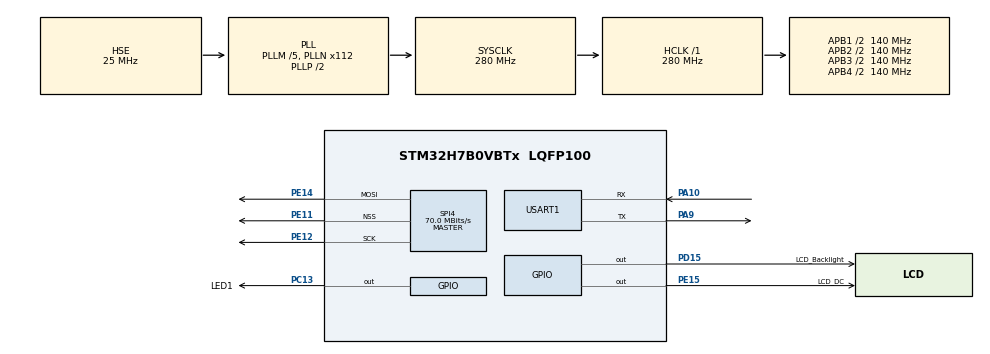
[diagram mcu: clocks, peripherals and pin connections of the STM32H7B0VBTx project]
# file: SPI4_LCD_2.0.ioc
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CORTEX_M7.CPU_DCache=Enabled
CORTEX_M7.CPU_ICache=Enabled
CORTEX_M7.MPU_Control=__NULL
CORTEX_M7.default_mode_Activation=1
Mcu.Family=STM32H7
Mcu.Name=STM32H7B0VBTx
Mcu.Package=LQFP100
NVIC.PriorityGroup=NVIC_PRIORITYGROUP_4
PA10.GPIO_Speed=GPIO_SPEED_FREQ_VERY_HIGH
PA10.Mode=Asynchronous
PA10.Signal=USART1_RX
PA13.Mode=Serial_Wire
PA13.Signal=DEBUG_JTMS-SWDIO
PA14.Mode=Serial_Wire
PA14.Signal=DEBUG_JTCK-SWCLK
PA9.GPIO_Speed=GPIO_SPEED_FREQ_VERY_HIGH
PA9.Mode=Asynchronous
PA9.Signal=USART1_TX
PC13.GPIO_Label=LED1
PC13.Signal=GPIO_Output
PC14-OSC32_IN.Mode=LSE-External-Oscillator
PC14-OSC32_IN.Signal=RCC_OSC32_IN
PC15-OSC32_OUT.Mode=LSE-External-Oscillator
PC15-OSC32_OUT.Signal=RCC_OSC32_OUT
PD15.GPIO_Label=LCD_Backlight
PD15.GPIO_PuPd=GPIO_PULLDOWN
PD15.Signal=GPIO_Output
PE11.GPIO_Speed=GPIO_SPEED_FREQ_VERY_HIGH
PE11.Mode=NSS_Signal_Hard_Output
PE11.Signal=SPI4_NSS
PE12.GPIO_Speed=GPIO_SPEED_FREQ_VERY_HIGH
PE12.Mode=TX_Only_Simplex_Unidirect_Master
PE12.Signal=SPI4_SCK
PE14.GPIO_Speed=GPIO_SPEED_FREQ_VERY_HIGH
PE14.Mode=TX_Only_Simplex_Unidirect_Master
PE14.Signal=SPI4_MOSI
PE15.GPIO_Label=LCD_DC
PE15.Signal=GPIO_Output
PH0-OSC_IN.Mode=HSE-External-Oscillator
PH0-OSC_IN.Signal=RCC_OSC_IN
PH1-OSC_OUT.Mode=HSE-External-Oscillator
PH1-OSC_OUT.Signal=RCC_OSC_OUT
ProjectManager.HeapSize=0x200
ProjectManager.StackSize=0x400
ProjectManager.TargetToolchain=STM32CubeIDE
RCC.ADCFreq_Value=50390625
RCC.APB1Freq_Value=140000000
RCC.APB2Freq_Value=140000000
RCC.APB3Freq_Value=140000000
RCC.APB4Freq_Value=140000000
RCC.CDPPRE=RCC_APB3_DIV2
RCC.CDPPRE1=RCC_APB1_DIV2
RCC.CDPPRE2=RCC_APB2_DIV2
RCC.CortexFreq_Value=280000000
RCC.DIVM1=5
RCC.DIVN1=112
RCC.HCLKFreq_Value=280000000
RCC.HSE_VALUE=25000000
RCC.PLLFRACN=0
RCC.PLLSourceVirtual=RCC_PLLSOURCE_HSE
RCC.SRDPPRE=RCC_APB4_DIV2
RCC.SYSCLKFreq_VALUE=280000000
RCC.SYSCLKSource=RCC_SYSCLKSOURCE_PLLCLK
RCC.USBFreq_Value=280000000
SPI4.CalculateBaudRate=70.0 MBits/s
SPI4.DataSize=SPI_DATASIZE_8BIT
SPI4.Direction=SPI_DIRECTION_2LINES_TXONLY
SPI4.Mode=SPI_MODE_MASTER
SPI4.VirtualNSS=VM_NSSHARD
SPI4.VirtualType=VM_MASTER
USART1.VirtualMode-Asynchronous=VM_ASYNC
VP_MEMORYMAP_VS_MEMORYMAP.Mode=CurAppReg
board=custom

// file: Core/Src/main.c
/* USER CODE BEGIN Header */
/**
  ******************************************************************************
  * @file           : main.c
  * @brief          : Main program body
  ******************************************************************************
  * @attention
  *
  * Copyright (c) 2024 STMicroelectronics.
  * All rights reserved.
  *
  * This software is licensed under terms that can be found in the LICENSE file
  * in the root directory of this software component.
  * If no LICENSE file comes with this software, it is provided AS-IS.
  *
  ******************************************************************************
  */
/* USER CODE END Header */
#include "main.h"
#include "memorymap.h"
#include "spi.h"
#include "usart.h"
#include "gpio.h"

/* USER CODE BEGIN Includes */
#include "retarget.h"
/* USER CODE END Includes */

/* USER CODE BEGIN PD */
#define LED1_ON        HAL_GPIO_WritePin(LED1_GPIO_Port, LED1_Pin, GPIO_PIN_RESET)        // 点亮LED1
#define LED1_OFF        HAL_GPIO_WritePin(LED1_GPIO_Port, LED1_Pin, GPIO_PIN_SET)        // 关闭LED1
/* USER CODE END PD */

void SystemClock_Config(void);

/* USER CODE BEGIN 0 */
// LCD测试函数，函数定义在底部
void LCD_Test_Clear(void);            // 清屏测试
void LCD_Test_Text(void);               // 文本测试
void LCD_Test_Variable(void);       // 变量显示，包括整数和小数
void LCD_Test_Color(void);            // 矩形填充测试
void LCD_Test_Grahic(void);           // 2D图形绘制
void LCD_Test_Image(void);            // 图片显示
void LCD_Test_Direction(void);       // 更换显示方向
/* USER CODE END 0 */

int main(void)
{

  /* MCU Configuration--------------------------------------------------------*/

  /* Reset of all peripherals, Initializes the Flash interface and the Systick. */
  HAL_Init();

  /* Configure the system clock */
  SystemClock_Config();

  /* Initialize all configured peripherals */
  MX_GPIO_Init();
  MX_SPI4_Init();
  MX_USART1_UART_Init();
  /* USER CODE BEGIN 2 */
	RetargetInit(&huart1);
	SPI_LCD_Init();            // SPI LCD屏幕初始�?
  /* USER CODE END 2 */

  /* Infinite loop */
  /* USER CODE BEGIN WHILE */
	while (1)
	{
//		HAL_GPIO_TogglePin(LED1_GPIO_Port,LED1_Pin);
//		HAL_Delay(300);
		LCD_Test_Clear();        // 清屏测试
		LCD_Test_Text();            // 文本测试
		LCD_Test_Variable();    // 变量显示，包括整数和小数
		LCD_Test_Color();            // 颜色测试
		LCD_Test_Grahic();        // 2D图形绘制
		LCD_Test_Image();            // 图片显示
		LCD_Test_Direction();    // 更换显示方向
    /* USER CODE END WHILE */

	}
}

void SystemClock_Config(void)
{
  RCC_OscInitTypeDef RCC_OscInitStruct = {0};
  RCC_ClkInitTypeDef RCC_ClkInitStruct = {0};

  /*AXI clock gating */
  RCC->CKGAENR = 0xFFFFFFFF;

  /** Supply configuration update enable
  */
  HAL_PWREx_ConfigSupply(PWR_LDO_SUPPLY);

  /** Configure the main internal regulator output voltage
  */
  __HAL_PWR_VOLTAGESCALING_CONFIG(PWR_REGULATOR_VOLTAGE_SCALE0);

  while(!__HAL_PWR_GET_FLAG(PWR_FLAG_VOSRDY)) {}

  /** Initializes the RCC Oscillators according to the specified parameters
  * in the RCC_OscInitTypeDef structure.
  */
  RCC_OscInitStruct.OscillatorType = RCC_OSCILLATORTYPE_HSE;
  RCC_OscInitStruct.HSEState = RCC_HSE_ON;
  RCC_OscInitStruct.PLL.PLLState = RCC_PLL_ON;
  RCC_OscInitStruct.PLL.PLLSource = RCC_PLLSOURCE_HSE;
  RCC_OscInitStruct.PLL.PLLM = 5;
  RCC_OscInitStruct.PLL.PLLN = 112;
  RCC_OscInitStruct.PLL.PLLP = 2;
  RCC_OscInitStruct.PLL.PLLQ = 2;
  RCC_OscInitStruct.PLL.PLLR = 2;
  RCC_OscInitStruct.PLL.PLLRGE = RCC_PLL1VCIRANGE_2;
  RCC_OscInitStruct.PLL.PLLVCOSEL = RCC_PLL1VCOWIDE;
  RCC_OscInitStruct.PLL.PLLFRACN = 0;
  if (HAL_RCC_OscConfig(&RCC_OscInitStruct) != HAL_OK)
  {
    Error_Handler();
  }

  /** Initializes the CPU, AHB and APB buses clocks
  */
  RCC_ClkInitStruct.ClockType = RCC_CLOCKTYPE_HCLK|RCC_CLOCKTYPE_SYSCLK
                              |RCC_CLOCKTYPE_PCLK1|RCC_CLOCKTYPE_PCLK2
                              |RCC_CLOCKTYPE_D3PCLK1|RCC_CLOCKTYPE_D1PCLK1;
  RCC_ClkInitStruct.SYSCLKSource = RCC_SYSCLKSOURCE_PLLCLK;
  RCC_ClkInitStruct.SYSCLKDivider = RCC_SYSCLK_DIV1;
  RCC_ClkInitStruct.AHBCLKDivider = RCC_HCLK_DIV1;
  RCC_ClkInitStruct.APB3CLKDivider = RCC_APB3_DIV2;
  RCC_ClkInitStruct.APB1CLKDivider = RCC_APB1_DIV2;
  RCC_ClkInitStruct.APB2CLKDivider = RCC_APB2_DIV2;
  RCC_ClkInitStruct.APB4CLKDivider = RCC_APB4_DIV2;

  if (HAL_RCC_ClockConfig(&RCC_ClkInitStruct, FLASH_LATENCY_6) != HAL_OK)
  {
    Error_Handler();
  }
}

/* USER CODE BEGIN 4 */
/*************************************************************************************************
*	�? �? �?:	LCD_Test_Clear
*
*	函数功能:	清屏测试
*************************************************************************************************/
void LCD_Test_Clear(void)
{
	uint8_t i = 0;            // 计数变量

	LCD_SetTextFont(&CH_Font24);            // 设置2424中文字体,ASCII字体对应�?2412
	LCD_SetColor(LCD_BLACK);                // 设置画笔颜色

	for (i = 0; i < 8; i++)
	{
		switch (i)        // 切换背景�?
		{
			case 0:
				LCD_SetBackColor(LIGHT_RED);
				break;
			case 1:
				LCD_SetBackColor(LIGHT_GREEN);
				break;
			case 2:
				LCD_SetBackColor(LIGHT_BLUE);
				break;
			case 3:
				LCD_SetBackColor(LIGHT_YELLOW);
				break;
			case 4:
				LCD_SetBackColor(LIGHT_CYAN);
				break;
			case 5:
				LCD_SetBackColor(LIGHT_GREY);
				break;
			case 6:
				LCD_SetBackColor(LIGHT_MAGENTA);
				break;
			case 7:
				LCD_SetBackColor(LCD_WHITE);
				break;
			default:
				break;
		}
		LCD_Clear();        // 清屏
		LCD_DisplayText(13, 70, "STM32H7 刷屏测试");
		LCD_DisplayText(13, 106, "屏幕分辨�?:240*320");
		LCD_DisplayText(13, 142, "控制�?:ST7789");
		HAL_Delay(1000);    // 延时
	}
}

/*************************************************************************************************
*	�? �? �?:	LCD_Test_Text
*
*	函数功能:	文本显示测试
*
*	�?    �?:	显示文本，包括各种字体大小的中文和ASCII字符
*************************************************************************************************/
void LCD_Test_Text(void)
{
	LCD_SetBackColor(LCD_BLACK);            //	设置背景�?
	LCD_Clear();                                // 清屏

	LCD_SetColor(LCD_WHITE);
	LCD_SetAsciiFont(&ASCII_Font32);
	LCD_DisplayString(0, 0, "!#$'()*+,-.0123");
	LCD_SetAsciiFont(&ASCII_Font24);
	LCD_DisplayString(0, 32, "!#$'()*+,-.012345678");
	LCD_SetAsciiFont(&ASCII_Font20);
	LCD_DisplayString(0, 56, "!#$'()*+,-.0123456789:;<");
	LCD_SetAsciiFont(&ASCII_Font16);
	LCD_DisplayString(0, 76, "!#$'()*+,-.0123456789:;<=>?@AB");
	LCD_SetAsciiFont(&ASCII_Font12);
	LCD_DisplayString(0, 92, "!#$'()*+,-.0123456789:;<=>?@ABCDEFGHIJKL");

	LCD_SetColor(LCD_CYAN);
	LCD_SetAsciiFont(&ASCII_Font12);
	LCD_DisplayString(0, 104, "!#&'()*+,-.0123456789:;<=>?@ABCDEFGHIJKL");
	LCD_SetAsciiFont(&ASCII_Font16);
	LCD_DisplayString(0, 116, "!#&'()*+,-.0123456789:;<=>?@AB");
	LCD_SetAsciiFont(&ASCII_Font20);
	LCD_DisplayString(0, 132, "!#&'()*+,-.0123456789:;<");
	LCD_SetAsciiFont(&ASCII_Font24);
	LCD_DisplayString(0, 152, "!#&'()*+,-.012345678");
	LCD_SetAsciiFont(&ASCII_Font32);
	LCD_DisplayString(0, 176, "!#&'()*+,-.0123");

	LCD_SetTextFont(&CH_Font24);            // 设置2424中文字体,ASCII字体对应�?2412
	LCD_SetColor(LCD_YELLOW);                // 设置画笔，黄�?
	LCD_DisplayText(0, 216, "ASCII字符�?");

	HAL_Delay(2000);    // 延时等待
	LCD_Clear();                                // 清屏

	LCD_SetTextFont(&CH_Font12);            // 设置1212中文字体,ASCII字体对应�?1206
	LCD_SetColor(0X8AC6D1);                    // 设置画笔
	LCD_DisplayText(14, 10, "1212:反客科技");

	LCD_SetTextFont(&CH_Font16);            // 设置1616中文字体,ASCII字体对应�?1608
	LCD_SetColor(0XC5E1A5);                    // 设置画笔
	LCD_DisplayText(14, 30, "1616:反客科技");

	LCD_SetTextFont(&CH_Font20);            // 设置2020中文字体,ASCII字体对应�?2010
	LCD_SetColor(0XFFB549);                    // 设置画笔
	LCD_DisplayText(14, 60, "2020:反客科技");

	LCD_SetTextFont(&CH_Font24);            // 设置2424中文字体,ASCII字体对应�?2412
	LCD_SetColor(0XFF585D);                    // 设置画笔
	LCD_DisplayText(14, 90, "2424:反客科技");

	LCD_SetTextFont(&CH_Font32);            // 设置3232中文字体,ASCII字体对应�?3216
	LCD_SetColor(0xFFB6B9);                    // 设置画笔
	LCD_DisplayText(14, 130, "3232:反客科技");

	LCD_SetTextFont(&CH_Font24);            // 设置2424中文字体,ASCII字体对应�?2412
	LCD_SetColor(LCD_WHITE);
	LCD_DisplayText(14, 180, "中文显示");

	HAL_Delay(2000);    // 延时等待
}

/************************************************************************************************
*	�? �? �?:	LCD_Test_Variable
*
*	函数功能:	变量显示，包括整数和小数
*************************************************************************************************/
void LCD_Test_Variable(void)
{
	uint16_t i;                    // 计数变量
	int32_t a = 0;            // 定义整数变量，用于测�?
	int32_t b = 0;            // 定义整数变量，用于测�?
	int32_t c = 0;            // 定义整数变量，用于测�?

	double p = 3.1415926;    // 定义浮点数变量，用于测试
	double f = -1234.1234;    // 定义浮点数变量，用于测试

	LCD_SetBackColor(LCD_BLACK);            //	设置背景�?
	LCD_Clear();                                // 清屏

	LCD_SetTextFont(&CH_Font24);
	LCD_SetColor(LIGHT_CYAN);                    // 设置画笔，蓝绿色
	LCD_DisplayText(0, 10, "正数:");
	LCD_DisplayText(0, 40, "负数:");

	LCD_SetColor(LIGHT_YELLOW);                // 设置画笔，亮黄色
	LCD_DisplayText(0, 80, "填充空格:");
	LCD_DisplayText(0, 110, "填充0:");

	LCD_SetColor(LIGHT_RED);                    // 设置画笔	，亮红色
	LCD_DisplayText(0, 150, "正小�?:");
	LCD_DisplayText(0, 180, "负小�?:");

	for (i = 0; i < 100; i++)
	{
		LCD_SetColor(LIGHT_CYAN);                                // 设置画笔	，蓝绿色
		LCD_ShowNumMode(Fill_Space);                            // 多余位填充空�?
		LCD_DisplayNumber(80, 10, b + i * 10, 4);                // 显示变量
		LCD_DisplayNumber(80, 40, c - i * 10, 4);                // 显示变量

		LCD_SetColor(LIGHT_YELLOW);                                // 设置画笔，亮黄色

		LCD_ShowNumMode(Fill_Space);                                // 多余位填�? 空格
		LCD_DisplayNumber(130, 80, a + i * 150, 8);                // 显示变量

		LCD_ShowNumMode(Fill_Zero);                                // 多余位填�?0
		LCD_DisplayNumber(130, 110, b + i * 150, 8);                // 显示变量

		LCD_SetColor(LIGHT_RED);                                    // 设置画笔，亮红色
		LCD_ShowNumMode(Fill_Space);                                // 多余位填充空�?
		LCD_DisplayDecimals(100, 150, p + i * 0.1, 6, 3);        // 显示小数
		LCD_DisplayDecimals(100, 180, f + i * 0.01, 11, 4);        // 显示小数

		HAL_Delay(15);
	}
	HAL_Delay(2500);
}

/*************************************************************************************************
*	�? �? �?:	LCD_Test_Color
*
*	函数功能:	颜色�?
*************************************************************************************************/
void LCD_Test_Color(void)
{
	uint16_t i;                    // 计数变量
	uint16_t y;
// 颜色测试>>>>>
	LCD_SetBackColor(LCD_BLACK); //设置背景�?
	LCD_Clear(); //清屏，刷背景�?

	LCD_SetTextFont(&CH_Font20);            // 设置字体
	LCD_SetColor(LCD_WHITE);                // 设置画笔颜色
	LCD_DisplayText(0, 0, "RGB三基�?:");

	//使用画线函数绘制三基色色�?
	for (i = 0; i < 240; i++)
	{
		LCD_SetColor(LCD_RED - (i << 16));
		LCD_DrawLine_V(0 + i, 20, 10);
	}
	for (i = 0; i < 240; i++)
	{
		LCD_SetColor(LCD_GREEN - (i << 8));
		LCD_DrawLine_V(0 + i, 35, 10);
	}
	for (i = 0; i < 240; i++)
	{
		LCD_SetColor(LCD_BLUE - i);
		LCD_DrawLine_V(0 + i, 50, 10);
	}

	y = 70;
	LCD_SetColor(LIGHT_CYAN);
	LCD_FillRect(150, y + 5, 90, 10);
	LCD_DisplayString(0, y, "LIGHT_CYAN");
	LCD_SetColor(LIGHT_MAGENTA);
	LCD_FillRect(150, y + 20 * 1 + 5, 90, 10);
	LCD_DisplayString(0, y + 20 * 1, "LIGHT_MAGENTA");
	LCD_SetColor(LIGHT_YELLOW);
	LCD_FillRect(150, y + 20 * 2 + 5, 90, 10);
	LCD_DisplayString(0, y + 20 * 2, "LIGHT_YELLOW");
	LCD_SetColor(LIGHT_GREY);
	LCD_FillRect(150, y + 20 * 3 + 5, 90, 10);
	LCD_DisplayString(0, y + 20 * 3, "LIGHT_GREY");
	LCD_SetColor(LIGHT_RED);
	LCD_FillRect(150, y + 20 * 4 + 5, 90, 10);
	LCD_DisplayString(0, y + 20 * 4, "LIGHT_RED");
	LCD_SetColor(LIGHT_BLUE);
	LCD_FillRect(150, y + 20 * 5 + 5, 90, 10);
	LCD_DisplayString(0, y + 20 * 5, "LIGHT_BLUE");

	LCD_SetColor(DARK_CYAN);
	LCD_FillRect(150, y + 20 * 6 + 5, 90, 10);
	LCD_DisplayString(0, y + 20 * 6, "DARK_CYAN");
	LCD_SetColor(DARK_MAGENTA);
	LCD_FillRect(150, y + 20 * 7 + 5, 90, 10);
	LCD_DisplayString(0, y + 20 * 7, "DARK_MAGENTA");
	LCD_SetColor(DARK_YELLOW);
	LCD_FillRect(150, y + 20 * 8 + 5, 90, 10);
	LCD_DisplayString(0, y + 20 * 8, "DARK_YELLOW");
	LCD_SetColor(DARK_GREY);
	LCD_FillRect(150, y + 20 * 9 + 5, 90, 10);
	LCD_DisplayString(0, y + 20 * 9, "DARK_GREY");
	LCD_SetColor(DARK_RED);
	LCD_FillRect(150, y + 20 * 10 + 5, 90, 10);
	LCD_DisplayString(0, y + 20 * 10, "DARK_RED");
	LCD_SetColor(DARK_GREEN);
	LCD_FillRect(150, y + 20 * 11 + 5, 90, 10);
	LCD_DisplayString(0, y + 20 * 11, "DARK_GREEN");

	HAL_Delay(2000);
}

/*************************************************************************************************
*	�? �? �?:	LCD_Test_Grahic
*
*	函数功能:	2D图形绘制
*************************************************************************************************/
void LCD_Test_Grahic(void)
{
	LCD_SetBackColor(LCD_BLACK); //设置背景�?
	LCD_Clear(); //清屏，刷背景�?

	LCD_SetColor(LCD_WHITE);
	LCD_DrawRect(0, 0, 240, 320);            //绘制矩形

	LCD_SetColor(LCD_RED);
	LCD_FillCircle(140, 50, 30);        //填充圆形
	LCD_SetColor(LCD_GREEN);
	LCD_FillCircle(170, 50, 30);
	LCD_SetColor(LCD_BLUE);
	LCD_FillCircle(200, 50, 30);

	LCD_SetColor(LCD_YELLOW);
	LCD_DrawLine(26, 26, 113, 64);                //画直�?
	LCD_DrawLine(35, 22, 106, 81);                //画直�?
	LCD_DrawLine(45, 20, 93, 100);                //画直�?
	LCD_DrawLine(52, 16, 69, 108);                //画直�?
	LCD_DrawLine(62, 16, 44, 108);                //画直�?

	LCD_SetColor(LIGHT_CYAN);
	LCD_DrawCircle(120, 170, 30);            //绘制圆形
	LCD_DrawCircle(120, 170, 20);

	LCD_SetColor(LIGHT_RED);
	LCD_DrawEllipse(120, 170, 90, 40);    //绘制椭圆
	LCD_DrawEllipse(120, 170, 70, 40);    //绘制椭圆
	LCD_SetColor(LIGHT_MAGENTA);
	LCD_DrawEllipse(120, 170, 100, 50);    //绘制椭圆
	LCD_DrawEllipse(120, 170, 110, 60);

	LCD_SetColor(DARK_RED);
	LCD_FillRect(50, 250, 50, 50);            //填充矩形
	LCD_SetColor(DARK_BLUE);
	LCD_FillRect(100, 250, 50, 50);            //填充矩形
	LCD_SetColor(LIGHT_GREEN);
	LCD_FillRect(150, 250, 50, 50);            //填充矩形

	HAL_Delay(2000);
}

/*************************************************************************************************
*	�? �? �?:	LCD_Test_Image
*
*	函数功能:	图片显示测试
*************************************************************************************************/
void LCD_Test_Image(void)
{
	LCD_SetBackColor(LCD_BLACK);            //	设置背景�?
	LCD_Clear();                                // 清屏

	LCD_SetColor(0xffF6E58D);
	LCD_DrawImage(19, 55, 83, 83, Image_Android_83x83);       // 显示图片

	LCD_SetColor(0xffDFF9FB);
	LCD_DrawImage(141, 55, 83, 83, Image_Message_83x83);    // 显示图片

	LCD_SetColor(0xff9DD3A8);
	LCD_DrawImage(19, 175, 83, 83, Image_Toys_83x83);        // 显示图片

	LCD_SetColor(0xffFF8753);
	LCD_DrawImage(141, 175, 83, 83, Image_Video_83x83);        // 显示图片

	HAL_Delay(2000);
}

/*************************************************************************************************
*	�? �? �?:	LCD_Test_Direction
*
*	函数功能:	更换显示方向
*************************************************************************************************/
void LCD_Test_Direction(void)
{
	for (int i = 0; i < 4; i++)
	{
		LCD_SetBackColor(LCD_BLACK);            //	设置背景�?
		LCD_Clear();                                // 清屏
		LCD_SetTextFont(&CH_Font24);
		LCD_SetColor(0xffDFF9FB);
		switch (i)        // 切换背景�?
		{
			case 0:
				LCD_SetDirection(Direction_V);
				LCD_DisplayText(20, 20, "Direction_V");
				break;

			case 1:
				LCD_SetDirection(Direction_H);
				LCD_DisplayText(20, 20, "Direction_H");
				break;

			case 2:
				LCD_SetDirection(Direction_V_Flip);
				LCD_DisplayText(20, 20, "Direction_V_Flip");
				break;
			case 3:
				LCD_SetDirection(Direction_H_Flip);
				LCD_DisplayText(20, 20, "Direction_H_Flip");
				break;

			default:
				break;
		}
		LCD_SetColor(0xffF6E58D);
		LCD_DrawImage(19, 80, 83, 83, Image_Android_83x83);       // 显示图片
		LCD_SetTextFont(&CH_Font32);
		LCD_SetColor(0xff9DD3A8);
		LCD_DisplayText(130, 90, "反客");
		LCD_DisplayText(130, 130, "科技");
		LCD_SetDirection(Direction_V);
		HAL_Delay(1000);    // 延时
	}
}

/* USER CODE END 4 */

void Error_Handler(void)
{
	__disable_irq();
	while (1)
	{
	}
}
